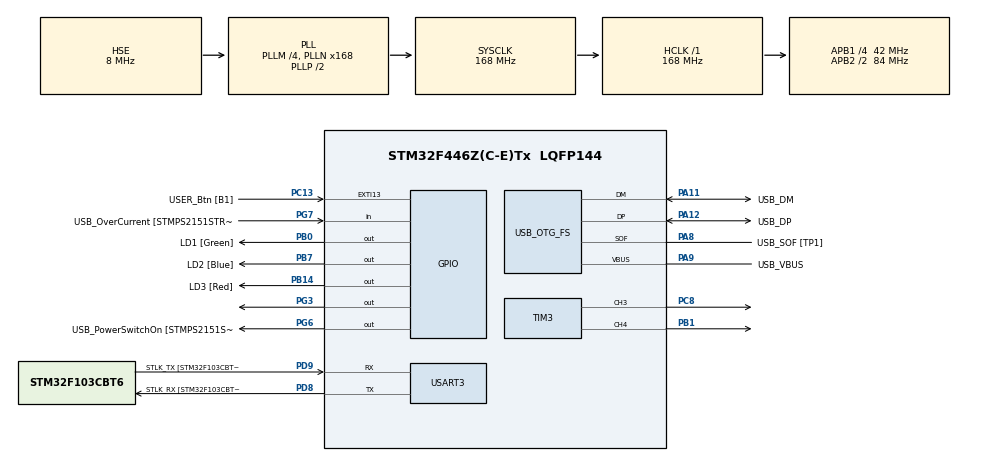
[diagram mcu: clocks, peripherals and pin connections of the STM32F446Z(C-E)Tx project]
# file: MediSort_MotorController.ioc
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Mcu.Family=STM32F4
Mcu.Name=STM32F446Z(C-E)Tx
Mcu.Package=LQFP144
NVIC.PriorityGroup=NVIC_PRIORITYGROUP_4
PA10.GPIO_Label=USB_ID
PA10.Signal=USB_OTG_FS_ID
PA11.GPIO_Label=USB_DM
PA11.Mode=Device_Only
PA11.Signal=USB_OTG_FS_DM
PA12.GPIO_Label=USB_DP
PA12.Mode=Device_Only
PA12.Signal=USB_OTG_FS_DP
PA13.GPIO_Label=TMS
PA13.Mode=Serial_Wire
PA13.Signal=SYS_JTMS-SWDIO
PA14.GPIO_Label=TCK
PA14.Mode=Serial_Wire
PA14.Signal=SYS_JTCK-SWCLK
PA8.GPIO_Label=USB_SOF [TP1]
PA8.Mode=Activate_SOF_FS
PA8.Signal=USB_OTG_FS_SOF
PA9.GPIO_Label=USB_VBUS
PA9.Mode=Activate_VBUS
PA9.Signal=USB_OTG_FS_VBUS
PB0.GPIO_Label=LD1 [Green]
PB0.Signal=GPIO_Output
PB1.Signal=S_TIM3_CH4
PB14.GPIO_Label=LD3 [Red]
PB14.Signal=GPIO_Output
PB7.GPIO_Label=LD2 [Blue]
PB7.Signal=GPIO_Output
PC13.GPIO_Label=USER_Btn [B1]
PC13.Signal=GPXTI13
PC14-OSC32_IN.Mode=LSE-External-Oscillator
PC14-OSC32_IN.Signal=RCC_OSC32_IN
PC15-OSC32_OUT.Mode=LSE-External-Oscillator
PC15-OSC32_OUT.Signal=RCC_OSC32_OUT
PC8.Signal=S_TIM3_CH3
PD8.GPIO_Label=STLK_RX [STM32F103CBT6_PA3]
PD8.Mode=Asynchronous
PD8.Signal=USART3_TX
PD9.GPIO_Label=STLK_TX [STM32F103CBT6_PA2]
PD9.Mode=Asynchronous
PD9.Signal=USART3_RX
PG3.Signal=GPIO_Output
PG6.GPIO_Label=USB_PowerSwitchOn [STMPS2151STR_EN]
PG6.Signal=GPIO_Output
PG7.GPIO_Label=USB_OverCurrent [STMPS2151STR_FAULT]
PG7.Signal=GPIO_Input
PH0-OSC_IN.GPIO_Label=MCO [STM32F103CBT6_PA8]
PH0-OSC_IN.Mode=HSE-External-Clock-Source
PH0-OSC_IN.Signal=RCC_OSC_IN
PH1-OSC_OUT.Mode=HSE-External-Clock-Source
PH1-OSC_OUT.Signal=RCC_OSC_OUT
ProjectManager.HeapSize=0x200
ProjectManager.StackSize=0x400
ProjectManager.TargetToolchain=STM32CubeIDE
RCC.48MHZClocksFreq_Value=24000000
RCC.AHBFreq_Value=168000000
RCC.APB1CLKDivider=RCC_HCLK_DIV4
RCC.APB1Freq_Value=42000000
RCC.APB1TimFreq_Value=84000000
RCC.APB2CLKDivider=RCC_HCLK_DIV2
RCC.APB2Freq_Value=84000000
RCC.APB2TimFreq_Value=168000000
RCC.CortexFreq_Value=168000000
RCC.HCLKFreq_Value=168000000
RCC.HSE_VALUE=8000000
RCC.HSI_VALUE=16000000
RCC.PLLM=4
RCC.PLLMUL=RCC_PLL_MUL9
RCC.PLLN=168
RCC.PLLQ=7
RCC.PRESCALERUSB=RCC_USBCLKSOURCE_PLL_DIV1_5
RCC.SYSCLKFreq_VALUE=168000000
RCC.SYSCLKSource=RCC_SYSCLKSOURCE_PLLCLK
RCC.SYSCLKSourceVirtual=RCC_SYSCLKSOURCE_PLLCLK
RCC.USBFreq_Value=48000000
RCC.VCOOutputFreq_Value=336000000
SH.S_TIM3_CH3.0=TIM3_CH3,PWM Generation3 CH3
SH.S_TIM3_CH4.0=TIM3_CH4,PWM Generation4 CH4
TIM3.Channel-PWM\ Generation3\ CH3=TIM_CHANNEL_3
TIM3.Channel-PWM\ Generation4\ CH4=TIM_CHANNEL_4
TIM3.CounterMode=TIM_COUNTERMODE_UP
USART3.VirtualMode=VM_ASYNC
USB_OTG_FS.VirtualMode=Device_Only
VP_TIM3_VS_ClockSourceINT.Mode=Internal
board=NUCLEO-F446ZE

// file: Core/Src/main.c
/* USER CODE BEGIN Header */
/**
  ******************************************************************************
  * @file           : main.c
  * @brief          : Main program body
  ******************************************************************************
  * @attention
  *
  * Copyright (c) 2025 STMicroelectronics.
  * All rights reserved.
  *
  * This software is licensed under terms that can be found in the LICENSE file
  * in the root directory of this software component.
  * If no LICENSE file comes with this software, it is provided AS-IS.
  *
  ******************************************************************************
  */
/* USER CODE END Header */
#include "main.h"
#include "tim.h"
#include "usart.h"
#include "usb_otg.h"
#include "gpio.h"

void SystemClock_Config(void);

int main(void)
{

  /* MCU Configuration--------------------------------------------------------*/

  /* Reset of all peripherals, Initializes the Flash interface and the Systick. */
  HAL_Init();

  /* Configure the system clock */
  SystemClock_Config();

  /* Initialize all configured peripherals */
  MX_GPIO_Init();
  MX_USART3_UART_Init();
  MX_USB_OTG_FS_PCD_Init();
  MX_TIM3_Init();
  /* USER CODE BEGIN 2 */
  HAL_GPIO_WritePin(GPIOG, GPIO_PIN_3, GPIO_PIN_SET);
  /* USER CODE END 2 */

  /* Infinite loop */
  while (1)
  {

    /* USER CODE BEGIN 3 */
	  if (HAL_GPIO_ReadPin(USER_Btn_GPIO_Port, USER_Btn_Pin)) {
		  HAL_GPIO_WritePin(LD1_GPIO_Port, LD1_Pin, GPIO_PIN_SET);
		  HAL_TIM_PWM_Start(&htim3, TIM_CHANNEL_3);
		  HAL_TIM_PWM_Start(&htim3, TIM_CHANNEL_4);

		  if (HAL_GPIO_ReadPin(GPIOG, GPIO_PIN_3) == GPIO_PIN_SET) {
			  __HAL_TIM_SET_COMPARE(&htim3, TIM_CHANNEL_3, 3360);
			  __HAL_TIM_SET_COMPARE(&htim3, TIM_CHANNEL_4, 3360);
		  }
		  else {
			  __HAL_TIM_SET_COMPARE(&htim3, TIM_CHANNEL_3, 840);
			  __HAL_TIM_SET_COMPARE(&htim3, TIM_CHANNEL_4, 840);
		  }
	  }
	  else {
		  HAL_GPIO_WritePin(LD1_GPIO_Port, LD1_Pin, GPIO_PIN_RESET);
		  HAL_TIM_PWM_Stop(&htim3, TIM_CHANNEL_3);
		  HAL_TIM_PWM_Stop(&htim3, TIM_CHANNEL_4);
	  }
  }
  /* USER CODE END 3 */
}

void SystemClock_Config(void)
{
  RCC_OscInitTypeDef RCC_OscInitStruct = {0};
  RCC_ClkInitTypeDef RCC_ClkInitStruct = {0};

  /** Configure the main internal regulator output voltage
  */
  __HAL_RCC_PWR_CLK_ENABLE();
  __HAL_PWR_VOLTAGESCALING_CONFIG(PWR_REGULATOR_VOLTAGE_SCALE1);

  /** Initializes the RCC Oscillators according to the specified parameters
  * in the RCC_OscInitTypeDef structure.
  */
  RCC_OscInitStruct.OscillatorType = RCC_OSCILLATORTYPE_HSE;
  RCC_OscInitStruct.HSEState = RCC_HSE_BYPASS;
  RCC_OscInitStruct.PLL.PLLState = RCC_PLL_ON;
  RCC_OscInitStruct.PLL.PLLSource = RCC_PLLSOURCE_HSE;
  RCC_OscInitStruct.PLL.PLLM = 4;
  RCC_OscInitStruct.PLL.PLLN = 168;
  RCC_OscInitStruct.PLL.PLLP = RCC_PLLP_DIV2;
  RCC_OscInitStruct.PLL.PLLQ = 7;
  RCC_OscInitStruct.PLL.PLLR = 2;
  if (HAL_RCC_OscConfig(&RCC_OscInitStruct) != HAL_OK)
  {
    Error_Handler();
  }

  /** Initializes the CPU, AHB and APB buses clocks
  */
  RCC_ClkInitStruct.ClockType = RCC_CLOCKTYPE_HCLK|RCC_CLOCKTYPE_SYSCLK
                              |RCC_CLOCKTYPE_PCLK1|RCC_CLOCKTYPE_PCLK2;
  RCC_ClkInitStruct.SYSCLKSource = RCC_SYSCLKSOURCE_PLLCLK;
  RCC_ClkInitStruct.AHBCLKDivider = RCC_SYSCLK_DIV1;
  RCC_ClkInitStruct.APB1CLKDivider = RCC_HCLK_DIV4;
  RCC_ClkInitStruct.APB2CLKDivider = RCC_HCLK_DIV2;

  if (HAL_RCC_ClockConfig(&RCC_ClkInitStruct, FLASH_LATENCY_5) != HAL_OK)
  {
    Error_Handler();
  }
}

void Error_Handler(void)
{
  __disable_irq();
  while (1)
  {
  }
}
